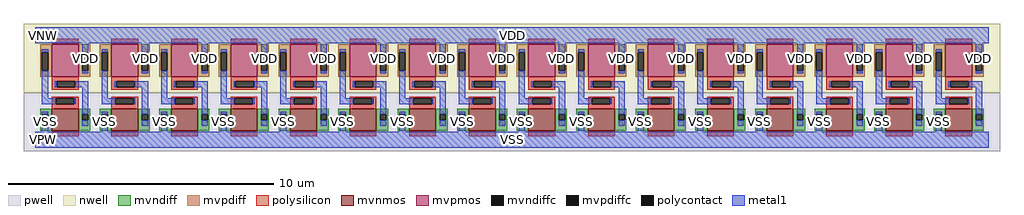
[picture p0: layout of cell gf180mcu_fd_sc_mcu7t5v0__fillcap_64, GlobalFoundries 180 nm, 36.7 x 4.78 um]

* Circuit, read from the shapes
.subckt gf180mcu_fd_sc_mcu7t5v0__fillcap_64 VDD VNW VPW VSS
XM1 n1 n2 VSS VPW nfet_06v0 w=0.82u l=1u
XM2 n3 n4 VSS VPW nfet_06v0 w=0.82u l=1u
XM3 n5 n6 VSS VPW nfet_06v0 w=0.82u l=1u
XM4 n7 n8 VSS VPW nfet_06v0 w=0.82u l=1u
XM5 n9 n10 VSS VPW nfet_06v0 w=0.82u l=1u
XM6 n11 n12 VSS VPW nfet_06v0 w=0.82u l=1u
XM7 n13 n14 VSS VPW nfet_06v0 w=0.82u l=1u
XM8 n15 n16 VSS VPW nfet_06v0 w=0.82u l=1u
XM9 n17 n18 VSS VPW nfet_06v0 w=0.82u l=1u
XM10 n19 n20 VSS VPW nfet_06v0 w=0.82u l=1u
XM11 n21 n22 VSS VPW nfet_06v0 w=0.82u l=1u
XM12 n23 n24 VSS VPW nfet_06v0 w=0.82u l=1u
XM13 n25 n26 VSS VPW nfet_06v0 w=0.82u l=1u
XM14 n27 n28 VSS VPW nfet_06v0 w=0.82u l=1u
XM15 n29 n30 VSS VPW nfet_06v0 w=0.82u l=1u
XM16 n31 n32 VSS VPW nfet_06v0 w=0.82u l=1u
XM17 VDD n1 n2 VNW pfet_06v0 w=1.22u l=1u
XM18 VDD n3 n4 VNW pfet_06v0 w=1.22u l=1u
XM19 VDD n5 n6 VNW pfet_06v0 w=1.22u l=1u
XM20 VDD n7 n8 VNW pfet_06v0 w=1.22u l=1u
XM21 VDD n9 n10 VNW pfet_06v0 w=1.22u l=1u
XM22 VDD n11 n12 VNW pfet_06v0 w=1.22u l=1u
XM23 VDD n13 n14 VNW pfet_06v0 w=1.22u l=1u
XM24 VDD n15 n16 VNW pfet_06v0 w=1.22u l=1u
XM25 VDD n17 n18 VNW pfet_06v0 w=1.22u l=1u
XM26 VDD n19 n20 VNW pfet_06v0 w=1.22u l=1u
XM27 VDD n21 n22 VNW pfet_06v0 w=1.22u l=1u
XM28 VDD n23 n24 VNW pfet_06v0 w=1.22u l=1u
XM29 VDD n25 n26 VNW pfet_06v0 w=1.22u l=1u
XM30 VDD n27 n28 VNW pfet_06v0 w=1.22u l=1u
XM31 VDD n29 n30 VNW pfet_06v0 w=1.22u l=1u
XM32 VDD n31 n32 VNW pfet_06v0 w=1.22u l=1u
.ends

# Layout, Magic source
magic
tech gf180mcuD
magscale 1 10
<< nwell >>
rect -86 352 7254 870
<< pwell >>
rect -86 -86 7254 352
<< mvnmos >>
rect 124 68 324 232
rect 572 68 772 232
rect 1020 68 1220 232
rect 1468 68 1668 232
rect 1916 68 2116 232
rect 2364 68 2564 232
rect 2812 68 3012 232
rect 3260 68 3460 232
rect 3708 68 3908 232
rect 4156 68 4356 232
rect 4604 68 4804 232
rect 5052 68 5252 232
rect 5500 68 5700 232
rect 5948 68 6148 232
rect 6396 68 6596 232
rect 6844 68 7044 232
<< mvpmos >>
rect 124 472 324 716
rect 572 472 772 716
rect 1020 472 1220 716
rect 1468 472 1668 716
rect 1916 472 2116 716
rect 2364 472 2564 716
rect 2812 472 3012 716
rect 3260 472 3460 716
rect 3708 472 3908 716
rect 4156 472 4356 716
rect 4604 472 4804 716
rect 5052 472 5252 716
rect 5500 472 5700 716
rect 5948 472 6148 716
rect 6396 472 6596 716
rect 6844 472 7044 716
<< mvndiff >>
rect 36 192 124 232
rect 36 146 49 192
rect 95 146 124 192
rect 36 68 124 146
rect 324 192 412 232
rect 324 146 353 192
rect 399 146 412 192
rect 324 68 412 146
rect 484 192 572 232
rect 484 146 497 192
rect 543 146 572 192
rect 484 68 572 146
rect 772 192 860 232
rect 772 146 801 192
rect 847 146 860 192
rect 772 68 860 146
rect 932 192 1020 232
rect 932 146 945 192
rect 991 146 1020 192
rect 932 68 1020 146
rect 1220 192 1308 232
rect 1220 146 1249 192
rect 1295 146 1308 192
rect 1220 68 1308 146
rect 1380 192 1468 232
rect 1380 146 1393 192
rect 1439 146 1468 192
rect 1380 68 1468 146
rect 1668 192 1756 232
rect 1668 146 1697 192
rect 1743 146 1756 192
rect 1668 68 1756 146
rect 1828 192 1916 232
rect 1828 146 1841 192
rect 1887 146 1916 192
rect 1828 68 1916 146
rect 2116 192 2204 232
rect 2116 146 2145 192
rect 2191 146 2204 192
rect 2116 68 2204 146
rect 2276 192 2364 232
rect 2276 146 2289 192
rect 2335 146 2364 192
rect 2276 68 2364 146
rect 2564 192 2652 232
rect 2564 146 2593 192
rect 2639 146 2652 192
rect 2564 68 2652 146
rect 2724 192 2812 232
rect 2724 146 2737 192
rect 2783 146 2812 192
rect 2724 68 2812 146
rect 3012 192 3100 232
rect 3012 146 3041 192
rect 3087 146 3100 192
rect 3012 68 3100 146
rect 3172 192 3260 232
rect 3172 146 3185 192
rect 3231 146 3260 192
rect 3172 68 3260 146
rect 3460 192 3548 232
rect 3460 146 3489 192
rect 3535 146 3548 192
rect 3460 68 3548 146
rect 3620 192 3708 232
rect 3620 146 3633 192
rect 3679 146 3708 192
rect 3620 68 3708 146
rect 3908 192 3996 232
rect 3908 146 3937 192
rect 3983 146 3996 192
rect 3908 68 3996 146
rect 4068 192 4156 232
rect 4068 146 4081 192
rect 4127 146 4156 192
rect 4068 68 4156 146
rect 4356 192 4444 232
rect 4356 146 4385 192
rect 4431 146 4444 192
rect 4356 68 4444 146
rect 4516 192 4604 232
rect 4516 146 4529 192
rect 4575 146 4604 192
rect 4516 68 4604 146
rect 4804 192 4892 232
rect 4804 146 4833 192
rect 4879 146 4892 192
rect 4804 68 4892 146
rect 4964 192 5052 232
rect 4964 146 4977 192
rect 5023 146 5052 192
rect 4964 68 5052 146
rect 5252 192 5340 232
rect 5252 146 5281 192
rect 5327 146 5340 192
rect 5252 68 5340 146
rect 5412 192 5500 232
rect 5412 146 5425 192
rect 5471 146 5500 192
rect 5412 68 5500 146
rect 5700 192 5788 232
rect 5700 146 5729 192
rect 5775 146 5788 192
rect 5700 68 5788 146
rect 5860 192 5948 232
rect 5860 146 5873 192
rect 5919 146 5948 192
rect 5860 68 5948 146
rect 6148 192 6236 232
rect 6148 146 6177 192
rect 6223 146 6236 192
rect 6148 68 6236 146
rect 6308 192 6396 232
rect 6308 146 6321 192
rect 6367 146 6396 192
rect 6308 68 6396 146
rect 6596 192 6684 232
rect 6596 146 6625 192
rect 6671 146 6684 192
rect 6596 68 6684 146
rect 6756 192 6844 232
rect 6756 146 6769 192
rect 6815 146 6844 192
rect 6756 68 6844 146
rect 7044 192 7132 232
rect 7044 146 7073 192
rect 7119 146 7132 192
rect 7044 68 7132 146
<< mvpdiff >>
rect 36 657 124 716
rect 36 517 49 657
rect 95 517 124 657
rect 36 472 124 517
rect 324 657 412 716
rect 324 517 353 657
rect 399 517 412 657
rect 324 472 412 517
rect 484 657 572 716
rect 484 517 497 657
rect 543 517 572 657
rect 484 472 572 517
rect 772 657 860 716
rect 772 517 801 657
rect 847 517 860 657
rect 772 472 860 517
rect 932 657 1020 716
rect 932 517 945 657
rect 991 517 1020 657
rect 932 472 1020 517
rect 1220 657 1308 716
rect 1220 517 1249 657
rect 1295 517 1308 657
rect 1220 472 1308 517
rect 1380 657 1468 716
rect 1380 517 1393 657
rect 1439 517 1468 657
rect 1380 472 1468 517
rect 1668 657 1756 716
rect 1668 517 1697 657
rect 1743 517 1756 657
rect 1668 472 1756 517
rect 1828 657 1916 716
rect 1828 517 1841 657
rect 1887 517 1916 657
rect 1828 472 1916 517
rect 2116 657 2204 716
rect 2116 517 2145 657
rect 2191 517 2204 657
rect 2116 472 2204 517
rect 2276 657 2364 716
rect 2276 517 2289 657
rect 2335 517 2364 657
rect 2276 472 2364 517
rect 2564 657 2652 716
rect 2564 517 2593 657
rect 2639 517 2652 657
rect 2564 472 2652 517
rect 2724 657 2812 716
rect 2724 517 2737 657
rect 2783 517 2812 657
rect 2724 472 2812 517
rect 3012 657 3100 716
rect 3012 517 3041 657
rect 3087 517 3100 657
rect 3012 472 3100 517
rect 3172 657 3260 716
rect 3172 517 3185 657
rect 3231 517 3260 657
rect 3172 472 3260 517
rect 3460 657 3548 716
rect 3460 517 3489 657
rect 3535 517 3548 657
rect 3460 472 3548 517
rect 3620 657 3708 716
rect 3620 517 3633 657
rect 3679 517 3708 657
rect 3620 472 3708 517
rect 3908 657 3996 716
rect 3908 517 3937 657
rect 3983 517 3996 657
rect 3908 472 3996 517
rect 4068 657 4156 716
rect 4068 517 4081 657
rect 4127 517 4156 657
rect 4068 472 4156 517
rect 4356 657 4444 716
rect 4356 517 4385 657
rect 4431 517 4444 657
rect 4356 472 4444 517
rect 4516 657 4604 716
rect 4516 517 4529 657
rect 4575 517 4604 657
rect 4516 472 4604 517
rect 4804 657 4892 716
rect 4804 517 4833 657
rect 4879 517 4892 657
rect 4804 472 4892 517
rect 4964 657 5052 716
rect 4964 517 4977 657
rect 5023 517 5052 657
rect 4964 472 5052 517
rect 5252 657 5340 716
rect 5252 517 5281 657
rect 5327 517 5340 657
rect 5252 472 5340 517
rect 5412 657 5500 716
rect 5412 517 5425 657
rect 5471 517 5500 657
rect 5412 472 5500 517
rect 5700 657 5788 716
rect 5700 517 5729 657
rect 5775 517 5788 657
rect 5700 472 5788 517
rect 5860 657 5948 716
rect 5860 517 5873 657
rect 5919 517 5948 657
rect 5860 472 5948 517
rect 6148 657 6236 716
rect 6148 517 6177 657
rect 6223 517 6236 657
rect 6148 472 6236 517
rect 6308 657 6396 716
rect 6308 517 6321 657
rect 6367 517 6396 657
rect 6308 472 6396 517
rect 6596 657 6684 716
rect 6596 517 6625 657
rect 6671 517 6684 657
rect 6596 472 6684 517
rect 6756 657 6844 716
rect 6756 517 6769 657
rect 6815 517 6844 657
rect 6756 472 6844 517
rect 7044 657 7132 716
rect 7044 517 7073 657
rect 7119 517 7132 657
rect 7044 472 7132 517
<< mvndiffc >>
rect 49 146 95 192
rect 353 146 399 192
rect 497 146 543 192
rect 801 146 847 192
rect 945 146 991 192
rect 1249 146 1295 192
rect 1393 146 1439 192
rect 1697 146 1743 192
rect 1841 146 1887 192
rect 2145 146 2191 192
rect 2289 146 2335 192
rect 2593 146 2639 192
rect 2737 146 2783 192
rect 3041 146 3087 192
rect 3185 146 3231 192
rect 3489 146 3535 192
rect 3633 146 3679 192
rect 3937 146 3983 192
rect 4081 146 4127 192
rect 4385 146 4431 192
rect 4529 146 4575 192
rect 4833 146 4879 192
rect 4977 146 5023 192
rect 5281 146 5327 192
rect 5425 146 5471 192
rect 5729 146 5775 192
rect 5873 146 5919 192
rect 6177 146 6223 192
rect 6321 146 6367 192
rect 6625 146 6671 192
rect 6769 146 6815 192
rect 7073 146 7119 192
<< mvpdiffc >>
rect 49 517 95 657
rect 353 517 399 657
rect 497 517 543 657
rect 801 517 847 657
rect 945 517 991 657
rect 1249 517 1295 657
rect 1393 517 1439 657
rect 1697 517 1743 657
rect 1841 517 1887 657
rect 2145 517 2191 657
rect 2289 517 2335 657
rect 2593 517 2639 657
rect 2737 517 2783 657
rect 3041 517 3087 657
rect 3185 517 3231 657
rect 3489 517 3535 657
rect 3633 517 3679 657
rect 3937 517 3983 657
rect 4081 517 4127 657
rect 4385 517 4431 657
rect 4529 517 4575 657
rect 4833 517 4879 657
rect 4977 517 5023 657
rect 5281 517 5327 657
rect 5425 517 5471 657
rect 5729 517 5775 657
rect 5873 517 5919 657
rect 6177 517 6223 657
rect 6321 517 6367 657
rect 6625 517 6671 657
rect 6769 517 6815 657
rect 7073 517 7119 657
<< polysilicon >>
rect 124 716 324 760
rect 572 716 772 760
rect 1020 716 1220 760
rect 1468 716 1668 760
rect 1916 716 2116 760
rect 2364 716 2564 760
rect 2812 716 3012 760
rect 3260 716 3460 760
rect 3708 716 3908 760
rect 4156 716 4356 760
rect 4604 716 4804 760
rect 5052 716 5252 760
rect 5500 716 5700 760
rect 5948 716 6148 760
rect 6396 716 6596 760
rect 6844 716 7044 760
rect 124 438 324 472
rect 124 392 160 438
rect 300 392 324 438
rect 124 375 324 392
rect 572 438 772 472
rect 572 392 608 438
rect 748 392 772 438
rect 572 375 772 392
rect 1020 438 1220 472
rect 1020 392 1056 438
rect 1196 392 1220 438
rect 1020 375 1220 392
rect 1468 438 1668 472
rect 1468 392 1504 438
rect 1644 392 1668 438
rect 1468 375 1668 392
rect 1916 438 2116 472
rect 1916 392 1952 438
rect 2092 392 2116 438
rect 1916 375 2116 392
rect 2364 438 2564 472
rect 2364 392 2400 438
rect 2540 392 2564 438
rect 2364 375 2564 392
rect 2812 438 3012 472
rect 2812 392 2848 438
rect 2988 392 3012 438
rect 2812 375 3012 392
rect 3260 438 3460 472
rect 3260 392 3296 438
rect 3436 392 3460 438
rect 3260 375 3460 392
rect 3708 438 3908 472
rect 3708 392 3744 438
rect 3884 392 3908 438
rect 3708 375 3908 392
rect 4156 438 4356 472
rect 4156 392 4192 438
rect 4332 392 4356 438
rect 4156 375 4356 392
rect 4604 438 4804 472
rect 4604 392 4640 438
rect 4780 392 4804 438
rect 4604 375 4804 392
rect 5052 438 5252 472
rect 5052 392 5088 438
rect 5228 392 5252 438
rect 5052 375 5252 392
rect 5500 438 5700 472
rect 5500 392 5536 438
rect 5676 392 5700 438
rect 5500 375 5700 392
rect 5948 438 6148 472
rect 5948 392 5984 438
rect 6124 392 6148 438
rect 5948 375 6148 392
rect 6396 438 6596 472
rect 6396 392 6432 438
rect 6572 392 6596 438
rect 6396 375 6596 392
rect 6844 438 7044 472
rect 6844 392 6880 438
rect 7020 392 7044 438
rect 6844 375 7044 392
rect 124 311 324 324
rect 124 265 152 311
rect 292 265 324 311
rect 124 232 324 265
rect 572 311 772 324
rect 572 265 600 311
rect 740 265 772 311
rect 572 232 772 265
rect 1020 311 1220 324
rect 1020 265 1048 311
rect 1188 265 1220 311
rect 1020 232 1220 265
rect 1468 311 1668 324
rect 1468 265 1496 311
rect 1636 265 1668 311
rect 1468 232 1668 265
rect 1916 311 2116 324
rect 1916 265 1944 311
rect 2084 265 2116 311
rect 1916 232 2116 265
rect 2364 311 2564 324
rect 2364 265 2392 311
rect 2532 265 2564 311
rect 2364 232 2564 265
rect 2812 311 3012 324
rect 2812 265 2840 311
rect 2980 265 3012 311
rect 2812 232 3012 265
rect 3260 311 3460 324
rect 3260 265 3288 311
rect 3428 265 3460 311
rect 3260 232 3460 265
rect 3708 311 3908 324
rect 3708 265 3736 311
rect 3876 265 3908 311
rect 3708 232 3908 265
rect 4156 311 4356 324
rect 4156 265 4184 311
rect 4324 265 4356 311
rect 4156 232 4356 265
rect 4604 311 4804 324
rect 4604 265 4632 311
rect 4772 265 4804 311
rect 4604 232 4804 265
rect 5052 311 5252 324
rect 5052 265 5080 311
rect 5220 265 5252 311
rect 5052 232 5252 265
rect 5500 311 5700 324
rect 5500 265 5528 311
rect 5668 265 5700 311
rect 5500 232 5700 265
rect 5948 311 6148 324
rect 5948 265 5976 311
rect 6116 265 6148 311
rect 5948 232 6148 265
rect 6396 311 6596 324
rect 6396 265 6424 311
rect 6564 265 6596 311
rect 6396 232 6596 265
rect 6844 311 7044 324
rect 6844 265 6872 311
rect 7012 265 7044 311
rect 6844 232 7044 265
rect 124 24 324 68
rect 572 24 772 68
rect 1020 24 1220 68
rect 1468 24 1668 68
rect 1916 24 2116 68
rect 2364 24 2564 68
rect 2812 24 3012 68
rect 3260 24 3460 68
rect 3708 24 3908 68
rect 4156 24 4356 68
rect 4604 24 4804 68
rect 5052 24 5252 68
rect 5500 24 5700 68
rect 5948 24 6148 68
rect 6396 24 6596 68
rect 6844 24 7044 68
<< polycontact >>
rect 160 392 300 438
rect 608 392 748 438
rect 1056 392 1196 438
rect 1504 392 1644 438
rect 1952 392 2092 438
rect 2400 392 2540 438
rect 2848 392 2988 438
rect 3296 392 3436 438
rect 3744 392 3884 438
rect 4192 392 4332 438
rect 4640 392 4780 438
rect 5088 392 5228 438
rect 5536 392 5676 438
rect 5984 392 6124 438
rect 6432 392 6572 438
rect 6880 392 7020 438
rect 152 265 292 311
rect 600 265 740 311
rect 1048 265 1188 311
rect 1496 265 1636 311
rect 1944 265 2084 311
rect 2392 265 2532 311
rect 2840 265 2980 311
rect 3288 265 3428 311
rect 3736 265 3876 311
rect 4184 265 4324 311
rect 4632 265 4772 311
rect 5080 265 5220 311
rect 5528 265 5668 311
rect 5976 265 6116 311
rect 6424 265 6564 311
rect 6872 265 7012 311
<< metal1 >>
rect 0 724 7168 844
rect 49 657 95 678
rect 49 311 95 517
rect 353 657 399 724
rect 353 498 399 517
rect 497 657 543 678
rect 146 392 160 438
rect 300 392 399 438
rect 49 265 152 311
rect 292 265 304 311
rect 49 192 95 211
rect 49 60 95 146
rect 353 192 399 392
rect 497 311 543 517
rect 801 657 847 724
rect 801 498 847 517
rect 945 657 991 678
rect 594 392 608 438
rect 748 392 847 438
rect 497 265 600 311
rect 740 265 752 311
rect 353 106 399 146
rect 497 192 543 211
rect 497 60 543 146
rect 801 192 847 392
rect 945 311 991 517
rect 1249 657 1295 724
rect 1249 498 1295 517
rect 1393 657 1439 678
rect 1042 392 1056 438
rect 1196 392 1295 438
rect 945 265 1048 311
rect 1188 265 1200 311
rect 801 106 847 146
rect 945 192 991 211
rect 945 60 991 146
rect 1249 192 1295 392
rect 1393 311 1439 517
rect 1697 657 1743 724
rect 1697 498 1743 517
rect 1841 657 1887 678
rect 1490 392 1504 438
rect 1644 392 1743 438
rect 1393 265 1496 311
rect 1636 265 1648 311
rect 1249 106 1295 146
rect 1393 192 1439 211
rect 1393 60 1439 146
rect 1697 192 1743 392
rect 1841 311 1887 517
rect 2145 657 2191 724
rect 2145 498 2191 517
rect 2289 657 2335 678
rect 1938 392 1952 438
rect 2092 392 2191 438
rect 1841 265 1944 311
rect 2084 265 2096 311
rect 1697 106 1743 146
rect 1841 192 1887 211
rect 1841 60 1887 146
rect 2145 192 2191 392
rect 2289 311 2335 517
rect 2593 657 2639 724
rect 2593 498 2639 517
rect 2737 657 2783 678
rect 2386 392 2400 438
rect 2540 392 2639 438
rect 2289 265 2392 311
rect 2532 265 2544 311
rect 2145 106 2191 146
rect 2289 192 2335 211
rect 2289 60 2335 146
rect 2593 192 2639 392
rect 2737 311 2783 517
rect 3041 657 3087 724
rect 3041 498 3087 517
rect 3185 657 3231 678
rect 2834 392 2848 438
rect 2988 392 3087 438
rect 2737 265 2840 311
rect 2980 265 2992 311
rect 2593 106 2639 146
rect 2737 192 2783 211
rect 2737 60 2783 146
rect 3041 192 3087 392
rect 3185 311 3231 517
rect 3489 657 3535 724
rect 3489 498 3535 517
rect 3633 657 3679 678
rect 3282 392 3296 438
rect 3436 392 3535 438
rect 3185 265 3288 311
rect 3428 265 3440 311
rect 3041 106 3087 146
rect 3185 192 3231 211
rect 3185 60 3231 146
rect 3489 192 3535 392
rect 3633 311 3679 517
rect 3937 657 3983 724
rect 3937 498 3983 517
rect 4081 657 4127 678
rect 3730 392 3744 438
rect 3884 392 3983 438
rect 3633 265 3736 311
rect 3876 265 3888 311
rect 3489 106 3535 146
rect 3633 192 3679 211
rect 3633 60 3679 146
rect 3937 192 3983 392
rect 4081 311 4127 517
rect 4385 657 4431 724
rect 4385 498 4431 517
rect 4529 657 4575 678
rect 4178 392 4192 438
rect 4332 392 4431 438
rect 4081 265 4184 311
rect 4324 265 4336 311
rect 3937 106 3983 146
rect 4081 192 4127 211
rect 4081 60 4127 146
rect 4385 192 4431 392
rect 4529 311 4575 517
rect 4833 657 4879 724
rect 4833 498 4879 517
rect 4977 657 5023 678
rect 4626 392 4640 438
rect 4780 392 4879 438
rect 4529 265 4632 311
rect 4772 265 4784 311
rect 4385 106 4431 146
rect 4529 192 4575 211
rect 4529 60 4575 146
rect 4833 192 4879 392
rect 4977 311 5023 517
rect 5281 657 5327 724
rect 5281 498 5327 517
rect 5425 657 5471 678
rect 5074 392 5088 438
rect 5228 392 5327 438
rect 4977 265 5080 311
rect 5220 265 5232 311
rect 4833 106 4879 146
rect 4977 192 5023 211
rect 4977 60 5023 146
rect 5281 192 5327 392
rect 5425 311 5471 517
rect 5729 657 5775 724
rect 5729 498 5775 517
rect 5873 657 5919 678
rect 5522 392 5536 438
rect 5676 392 5775 438
rect 5425 265 5528 311
rect 5668 265 5680 311
rect 5281 106 5327 146
rect 5425 192 5471 211
rect 5425 60 5471 146
rect 5729 192 5775 392
rect 5873 311 5919 517
rect 6177 657 6223 724
rect 6177 498 6223 517
rect 6321 657 6367 678
rect 5970 392 5984 438
rect 6124 392 6223 438
rect 5873 265 5976 311
rect 6116 265 6128 311
rect 5729 106 5775 146
rect 5873 192 5919 211
rect 5873 60 5919 146
rect 6177 192 6223 392
rect 6321 311 6367 517
rect 6625 657 6671 724
rect 6625 498 6671 517
rect 6769 657 6815 678
rect 6418 392 6432 438
rect 6572 392 6671 438
rect 6321 265 6424 311
rect 6564 265 6576 311
rect 6177 106 6223 146
rect 6321 192 6367 211
rect 6321 60 6367 146
rect 6625 192 6671 392
rect 6769 311 6815 517
rect 7073 657 7119 724
rect 7073 498 7119 517
rect 6866 392 6880 438
rect 7020 392 7119 438
rect 6769 265 6872 311
rect 7012 265 7024 311
rect 6625 106 6671 146
rect 6769 192 6815 211
rect 6769 60 6815 146
rect 7073 192 7119 392
rect 7073 106 7119 146
rect 0 -60 7168 60
<< labels >>
flabel metal1 s 0 724 7168 844 0 FreeSans 400 0 0 0 VDD
port 1 nsew power bidirectional abutment
flabel metal1 s 6769 60 6815 211 0 FreeSans 400 0 0 0 VSS
port 4 nsew ground bidirectional abutment
flabel nwell s 10 734 110 834 0 FreeSans 400 0 0 0 VNW
port 2 nsew power bidirectional
flabel pwell s 10 -50 110 50 0 FreeSans 400 0 0 0 VPW
port 3 nsew ground bidirectional
rlabel metal1 s 7073 498 7119 724 1 VDD
port 1 nsew power bidirectional abutment
rlabel metal1 s 6625 498 6671 724 1 VDD
port 1 nsew power bidirectional abutment
rlabel metal1 s 6177 498 6223 724 1 VDD
port 1 nsew power bidirectional abutment
rlabel metal1 s 5729 498 5775 724 1 VDD
port 1 nsew power bidirectional abutment
rlabel metal1 s 5281 498 5327 724 1 VDD
port 1 nsew power bidirectional abutment
rlabel metal1 s 4833 498 4879 724 1 VDD
port 1 nsew power bidirectional abutment
rlabel metal1 s 4385 498 4431 724 1 VDD
port 1 nsew power bidirectional abutment
rlabel metal1 s 3937 498 3983 724 1 VDD
port 1 nsew power bidirectional abutment
rlabel metal1 s 3489 498 3535 724 1 VDD
port 1 nsew power bidirectional abutment
rlabel metal1 s 3041 498 3087 724 1 VDD
port 1 nsew power bidirectional abutment
rlabel metal1 s 2593 498 2639 724 1 VDD
port 1 nsew power bidirectional abutment
rlabel metal1 s 2145 498 2191 724 1 VDD
port 1 nsew power bidirectional abutment
rlabel metal1 s 1697 498 1743 724 1 VDD
port 1 nsew power bidirectional abutment
rlabel metal1 s 1249 498 1295 724 1 VDD
port 1 nsew power bidirectional abutment
rlabel metal1 s 801 498 847 724 1 VDD
port 1 nsew power bidirectional abutment
rlabel metal1 s 353 498 399 724 1 VDD
port 1 nsew power bidirectional abutment
rlabel metal1 s 6321 60 6367 211 1 VSS
port 4 nsew ground bidirectional abutment
rlabel metal1 s 5873 60 5919 211 1 VSS
port 4 nsew ground bidirectional abutment
rlabel metal1 s 5425 60 5471 211 1 VSS
port 4 nsew ground bidirectional abutment
rlabel metal1 s 4977 60 5023 211 1 VSS
port 4 nsew ground bidirectional abutment
rlabel metal1 s 4529 60 4575 211 1 VSS
port 4 nsew ground bidirectional abutment
rlabel metal1 s 4081 60 4127 211 1 VSS
port 4 nsew ground bidirectional abutment
rlabel metal1 s 3633 60 3679 211 1 VSS
port 4 nsew ground bidirectional abutment
rlabel metal1 s 3185 60 3231 211 1 VSS
port 4 nsew ground bidirectional abutment
rlabel metal1 s 2737 60 2783 211 1 VSS
port 4 nsew ground bidirectional abutment
rlabel metal1 s 2289 60 2335 211 1 VSS
port 4 nsew ground bidirectional abutment
rlabel metal1 s 1841 60 1887 211 1 VSS
port 4 nsew ground bidirectional abutment
rlabel metal1 s 1393 60 1439 211 1 VSS
port 4 nsew ground bidirectional abutment
rlabel metal1 s 945 60 991 211 1 VSS
port 4 nsew ground bidirectional abutment
rlabel metal1 s 497 60 543 211 1 VSS
port 4 nsew ground bidirectional abutment
rlabel metal1 s 49 60 95 211 1 VSS
port 4 nsew ground bidirectional abutment
rlabel metal1 s 0 -60 7168 60 1 VSS
port 4 nsew ground bidirectional abutment
<< properties >>
string FIXED_BBOX 0 0 7168 784
string GDS_END 421994
string GDS_FILE $PDKPATH/libs.ref/gf180mcu_fd_sc_mcu7t5v0/gds/gf180mcu_fd_sc_mcu7t5v0.gds
string GDS_START 402914
string LEFclass core SPACER
string LEFsite GF018hv5v_mcu_sc7
string LEFsymmetry X Y
<< end >>
